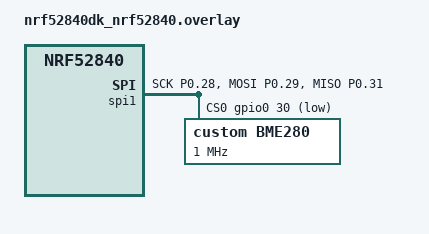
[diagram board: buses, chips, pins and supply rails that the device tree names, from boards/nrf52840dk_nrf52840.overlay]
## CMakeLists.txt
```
# SPDX-License-Identifier: Apache-2.0

# STEP 2 - Add the driver directory as a Zephyr module

cmake_minimum_required(VERSION 3.20.0)

find_package(Zephyr REQUIRED HINTS $ENV{ZEPHYR_BASE})
project(nrf_connect_sdk_intermediate)

target_sources(app PRIVATE  src/main.c)
```

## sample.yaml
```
sample:
  description: nRF Connect SDK Intermediate Course by Nordic Developer Academy (https://academy.nordicsemi.com/)
  name: nRF Connect SDK Intermediate Course (Lesson 7 - Exercise 1)
```

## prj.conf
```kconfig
#
# Copyright (c) 2024 Nordic Semiconductor ASA
#
# SPDX-License-Identifier: LicenseRef-Nordic-5-Clause
#

# Logging
CONFIG_LOG=y

# Peripherals
CONFIG_GPIO=y
CONFIG_SPI=y

# STEP 1.1 - Enable the custom driver


# STEP 1.2 - Enable application defined syscalls
```

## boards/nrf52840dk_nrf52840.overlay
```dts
&i2c0 {	status = "disabled";};
&spi0 {	status = "disabled";};
&i2c1 {	status = "disabled";};
	
&spi1 {
    compatible = "nordic,nrf-spim";
	status = "okay";
	pinctrl-0 = <&spi1_default>;
	pinctrl-1 = <&spi1_sleep>;
	pinctrl-names = "default", "sleep";
	cs-gpios = <&gpio0 30 GPIO_ACTIVE_LOW>;
	bme280: bme280@0 {
		compatible = "custom,bme280";
		reg = <0>;
		spi-max-frequency = <1000000>; 
	};
};

&pinctrl {
	spi1_default: spi1_default {
		group1 {
				psels = <NRF_PSEL(SPIM_SCK, 0, 28)>,
						<NRF_PSEL(SPIM_MOSI, 0, 29)>,
						<NRF_PSEL(SPIM_MISO, 0, 31)>;
		};
	};

	spi1_sleep: spi1_sleep {
		group1 {
				psels = <NRF_PSEL(SPIM_SCK, 0, 28)>,
						<NRF_PSEL(SPIM_MOSI, 0, 29)>,
						<NRF_PSEL(SPIM_MISO, 0, 31)>;
				low-power-enable;
		};
	};
};
```

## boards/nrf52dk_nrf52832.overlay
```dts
&i2c0 {	status = "disabled";};
&spi0 {	status = "disabled";};
&i2c1 {	status = "disabled";};
	
&spi1 {
    compatible = "nordic,nrf-spi"; //using SPI as per ERRATA 58
	status = "okay";
	pinctrl-0 = <&spi1_default>;
	pinctrl-1 = <&spi1_sleep>;
	pinctrl-names = "default", "sleep";
	cs-gpios = <&gpio0 30 GPIO_ACTIVE_LOW>;
	bme280: bme280@0 {
		compatible = "custom,bme280";
		reg = <0>;
		spi-max-frequency = <125000>; 
	};
};

&pinctrl {
	spi1_default: spi1_default {
		group1 {
				psels = <NRF_PSEL(SPIM_SCK, 0, 28)>,
						<NRF_PSEL(SPIM_MOSI, 0, 29)>,
						<NRF_PSEL(SPIM_MISO, 0, 31)>;
		};
	};

	spi1_sleep: spi1_sleep {
		group1 {
				psels = <NRF_PSEL(SPIM_SCK, 0, 28)>,
						<NRF_PSEL(SPIM_MOSI, 0, 29)>,
						<NRF_PSEL(SPIM_MISO, 0, 31)>;
				low-power-enable;
		};
	};
};
```

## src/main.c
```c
/*
 * Copyright (c) 2024 Nordic Semiconductor ASA
 *
 * SPDX-License-Identifier: LicenseRef-Nordic-5-Clause
 */

#include <stdio.h>
#include <zephyr/kernel.h>
#include <zephyr/device.h>
#include <zephyr/devicetree.h>
#include <zephyr/drivers/gpio.h>
#include <zephyr/drivers/spi.h>
#include <zephyr/logging/log.h>

#include "custom_bme280_driver_spi.h"

LOG_MODULE_REGISTER(Lesson7_Exercise1, LOG_LEVEL_INF);

#define SPIOP	SPI_WORD_SET(8) | SPI_TRANSFER_MSB

const struct gpio_dt_spec ledspec = GPIO_DT_SPEC_GET(DT_NODELABEL(led0), gpios);
const struct device *spi_dev = DEVICE_DT_GET(DT_NODELABEL(bme280));

int main(void)
{
	int err;

	LOG_INF("Lesson 7 - Exercise 1 started");

	err = gpio_is_ready_dt(&ledspec);
	if (!err) {
		LOG_INF("Error: GPIO device is not ready, err: %d", err);
		return 0;
	}

	err = device_is_ready(spi_dev);
	if (!err) {
		LOG_INF("Error: SPI device is not ready, err: %d", err);
		return 0;
	}

	gpio_pin_configure_dt(&ledspec, GPIO_OUTPUT_ACTIVE);
	
	custom_bme280_print(spi_dev);

	while(1){
		gpio_pin_toggle_dt(&ledspec);
		k_msleep(3000);
	}
	
	return 0;
}
```
